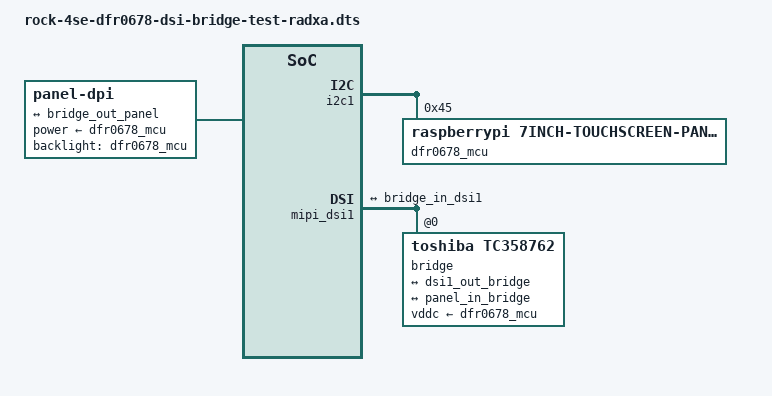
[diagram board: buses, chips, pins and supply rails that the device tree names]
// SPDX-License-Identifier: (GPL-2.0+ OR MIT)
/*
 * EXPERIMENTAL: DFR0678 on the ROCK 4SE, set up to match the working Radxa OS
 * kernel as closely as mainline allows:
 *
 * - DSI1 gets its PLL from DSI0          (rockchip,dsi-dsi0)
 * - DSI1 runs at Radxa's 696 Mbps/lane   (rockchip,lane-rate)
 * - TC358762 uses Radxa's init sequence, burst mode, no EoT packets
 *                                        (toshiba,radxa-init)
 * - the panel mode is Radxa's 26 MHz 800x480 timing (panel-dpi)
 *
 * Needs a kernel with rk3399-dsi1-dsi0-pll.patch,
 * dsi-lane-rate-override.patch and tc358762-radxa-init.patch, and without
 * dfr0678-radxa-timing.patch (this overlay sets the mode itself).
 * Do not load together with another overlay that claims i2c1 0x45.
 */

/dts-v1/;
/plugin/;

&{/} {
	panel {
		compatible = "panel-dpi";
		power-supply = <&dfr0678_mcu>;
		backlight = <&dfr0678_mcu>;
		width-mm = <154>;
		height-mm = <86>;

		panel-timing {
			clock-frequency = <26000000>;
			hactive = <800>;
			vactive = <480>;
			hfront-porch = <1>;
			hsync-len = <5>;
			hback-porch = <40>;
			vfront-porch = <7>;
			vsync-len = <1>;
			vback-porch = <21>;
			hsync-active = <0>;
			vsync-active = <0>;
			de-active = <0>;
			pixelclk-active = <0>;
		};

		port {
			panel_in_bridge: endpoint {
				remote-endpoint = <&bridge_out_panel>;
			};
		};
	};
};

&i2c1 {
	#address-cells = <1>;
	#size-cells = <0>;
	status = "okay";

	dfr0678_mcu: regulator@45 {
		compatible = "raspberrypi,7inch-touchscreen-panel-regulator";
		reg = <0x45>;
	};
};

&mipi_dsi1 {
	#address-cells = <1>;
	#size-cells = <0>;
	status = "okay";
	rockchip,dsi-dsi0 = <&mipi_dsi>;
	rockchip,lane-rate = <696>;

	bridge@0 {
		compatible = "toshiba,tc358762";
		reg = <0>;
		vddc-supply = <&dfr0678_mcu>;
		toshiba,radxa-init;

		ports {
			#address-cells = <1>;
			#size-cells = <0>;

			port@0 {
				reg = <0>;

				bridge_in_dsi1: endpoint {
					remote-endpoint = <&dsi1_out_bridge>;
				};
			};

			port@1 {
				reg = <1>;

				bridge_out_panel: endpoint {
					remote-endpoint = <&panel_in_bridge>;
				};
			};
		};
	};

	ports {
		#address-cells = <1>;
		#size-cells = <0>;

		port@1 {
			reg = <1>;

			dsi1_out_bridge: endpoint {
				remote-endpoint = <&bridge_in_dsi1>;
			};
		};
	};
};
